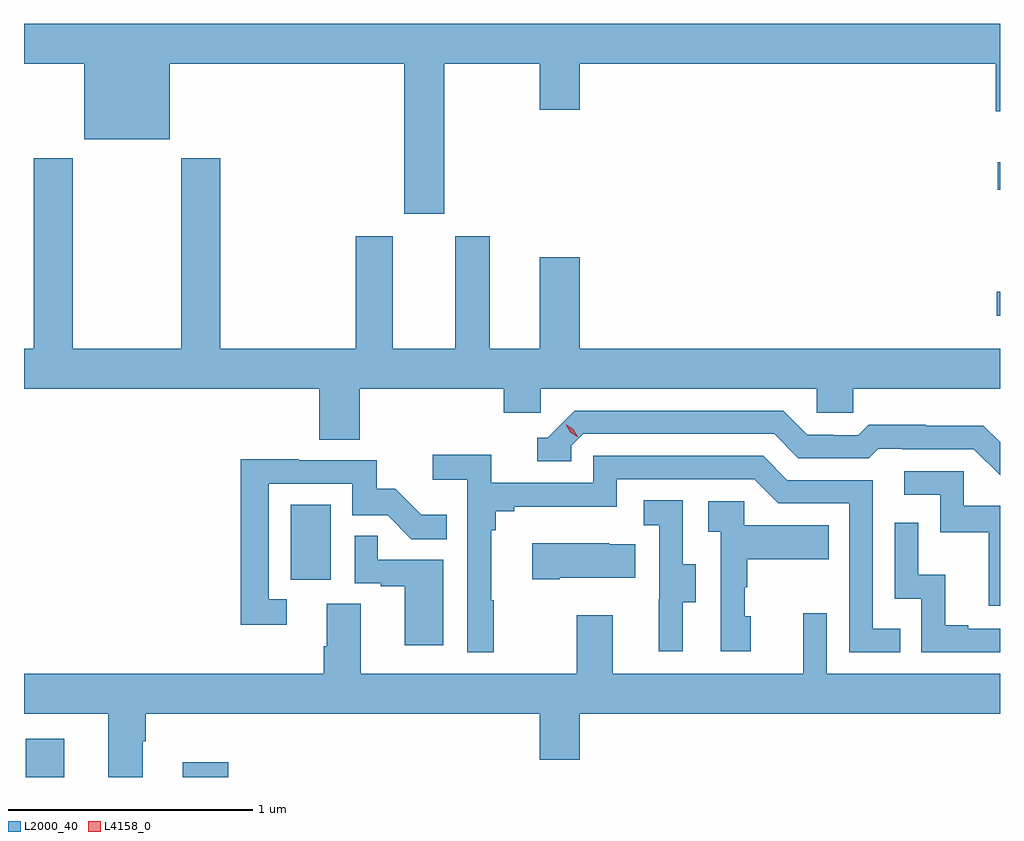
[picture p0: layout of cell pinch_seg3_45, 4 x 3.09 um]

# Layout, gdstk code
import gdstk
lib = gdstk.Library(unit=1e-6, precision=1e-09)
def R(c, l, rs):  # rectangles x0, y0, x1, y1
    for r in rs: c.add(gdstk.rectangle(r[:2], r[2:], *l))
def P(c, l, *ps):  # polygons
    for p in ps: c.add(gdstk.Polygon(p, *l))
L2000_40 = (2000, 40)
L4158_0 = (4158, 0)

pinch_seg3_45 = lib.new_cell('pinch_seg3_45')
R(pinch_seg3_45, L2000_40, [(1073.99,736.62,1074.148,736.777), (1074.633,736.62,1074.821,736.681), (1075.076,737.43,1075.24,737.737), (1077.969,738.512,1077.983,738.609), (1077.974,739.028,1077.983,739.141)])
P(pinch_seg3_45, L2000_40, [(1075.705,739.544),(1076.096,739.544),(1076.096,739.356),(1076.26,739.356),(1076.26,739.544),(1077.965,739.544),(1077.965,739.35),(1077.983,739.35),(1077.983,739.708),(1073.983,739.708),(1073.983,739.544),(1074.23,739.544),(1074.23,739.235),(1074.58,739.235),(1074.58,739.544),(1075.541,739.544),(1075.541,738.93),(1075.705,738.93)],
  [(1075.358,738.212),(1075.949,738.212),(1075.949,738.114),(1076.1,738.114),(1076.1,738.212),(1077.231,738.212),(1077.231,738.114),(1077.381,738.114),(1077.381,738.212),(1077.983,738.212),(1077.983,738.376),(1076.26,738.376),(1076.26,738.751),(1076.096,738.751),(1076.096,738.376),(1075.891,738.376),(1075.891,738.838),(1075.751,738.838),(1075.751,738.376),(1075.495,738.376),(1075.495,738.838),(1075.343,738.838),(1075.343,738.376),(1074.788,738.376),(1074.788,739.156),(1074.628,739.156),(1074.628,738.376),(1074.183,738.376),(1074.183,739.156),(1074.023,739.156),(1074.023,738.376),(1073.983,738.376),(1073.983,738.212),(1075.193,738.212),(1075.193,738.004),(1075.358,738.004)],
  [(1077.983,737.992),(1077.914,738.061),(1077.678,738.061),(1077.678,738.064),(1077.445,738.064),(1077.403,738.021),(1077.3,738.021),(1077.3,738.024),(1077.193,738.024),(1077.094,738.123),(1076.241,738.123),(1076.13,738.012),(1076.087,738.012),(1076.087,737.916),(1076.226,737.916),(1076.226,737.979),(1076.274,738.027),(1077.057,738.027),(1077.156,737.928),(1077.445,737.928),(1077.484,737.967),(1077.583,737.967),(1077.583,737.964),(1077.876,737.964),(1077.983,737.857)],
  [(1075.909,737.345),(1075.897,737.345),(1075.897,737.633),(1075.916,737.633),(1075.916,737.71),(1075.993,737.71),(1075.993,737.729),(1076.412,737.729),(1076.412,737.841),(1076.976,737.841),(1077.075,737.742),(1077.366,737.742),(1077.366,737.133),(1077.575,737.133),(1077.575,737.229),(1077.462,737.229),(1077.462,737.838),(1077.112,737.838),(1077.013,737.937),(1076.316,737.937),(1076.316,737.826),(1075.898,737.826),(1075.898,737.942),(1075.659,737.942),(1075.659,737.84),(1075.8,737.84),(1075.8,737.133),(1075.909,737.133)],
  [(1075.06,737.349),(1074.987,737.349),(1074.987,737.823),(1075.329,737.823),(1075.329,737.694),(1075.473,737.694),(1075.571,737.596),(1075.715,737.596),(1075.715,737.695),(1075.611,737.695),(1075.504,737.802),(1075.428,737.802),(1075.428,737.919),(1075.109,737.919),(1075.109,737.924),(1074.871,737.924),(1074.871,737.244),(1075.06,737.244)],
  [(1077.983,737.733),(1077.834,737.733),(1077.834,737.874),(1077.591,737.874),(1077.591,737.778),(1077.738,737.778),(1077.738,737.625),(1077.937,737.625),(1077.937,737.322),(1077.983,737.322)],
  [(1076.683,737.338),(1076.737,737.338),(1076.737,737.493),(1076.682,737.493),(1076.682,737.756),(1076.523,737.756),(1076.523,737.653),(1076.586,737.653),(1076.586,737.349),(1076.585,737.349),(1076.585,737.136),(1076.683,737.136)],
  [(1076.962,737.28),(1076.937,737.28),(1076.937,737.399),(1076.947,737.399),(1076.947,737.513),(1077.281,737.513),(1077.281,737.653),(1076.934,737.653),(1076.934,737.751),(1076.787,737.751),(1076.787,737.627),(1076.838,737.627),(1076.838,737.136),(1076.962,737.136)],
  [(1077.983,737.229),(1077.853,737.229),(1077.853,737.242),(1077.758,737.242),(1077.758,737.45),(1077.648,737.45),(1077.648,737.662),(1077.552,737.662),(1077.552,737.352),(1077.66,737.352),(1077.66,737.133),(1077.983,737.133)],
  [(1075.702,737.511),(1075.433,737.511),(1075.433,737.609),(1075.338,737.609),(1075.338,737.415),(1075.445,737.415),(1075.445,737.403),(1075.544,737.403),(1075.544,737.16),(1075.702,737.16)],
  [(1076.179,737.438),(1076.489,737.438),(1076.489,737.575),(1076.381,737.575),(1076.381,737.578),(1076.067,737.578),(1076.067,737.431),(1076.179,737.431)],
  [(1074.469,736.768),(1074.482,736.768),(1074.482,736.88),(1076.096,736.88),(1076.096,736.692),(1076.26,736.692),(1076.26,736.88),(1077.983,736.88),(1077.983,737.044),(1077.273,737.044),(1077.273,737.293),(1077.176,737.293),(1077.176,737.044),(1076.395,737.044),(1076.395,737.284),(1076.248,737.284),(1076.248,737.044),(1075.363,737.044),(1075.363,737.33),(1075.223,737.33),(1075.223,737.156),(1075.211,737.156),(1075.211,737.044),(1073.983,737.044),(1073.983,736.88),(1074.329,736.88),(1074.329,736.62),(1074.469,736.62)])
P(pinch_seg3_45, L4158_0, [(1076.251,738.015),(1076.221,738.034),(1076.204,738.066),(1076.204,738.066),(1076.204,738.066),(1076.235,738.047),(1076.252,738.015),(1076.252,738.015)])

lib.write_gds('pinch_seg3_45.gds')
